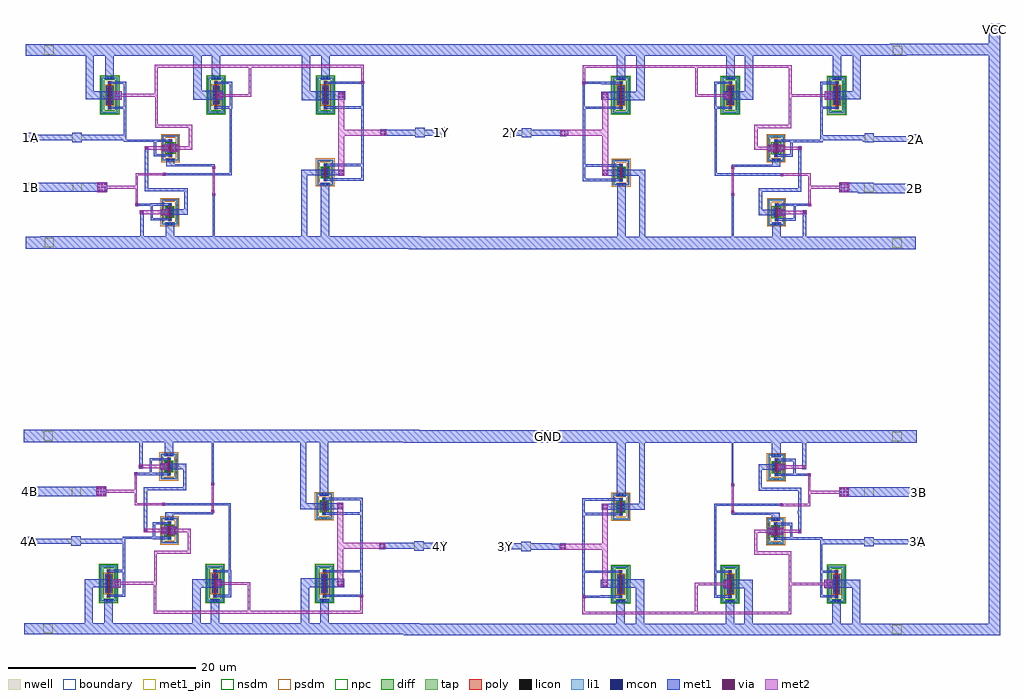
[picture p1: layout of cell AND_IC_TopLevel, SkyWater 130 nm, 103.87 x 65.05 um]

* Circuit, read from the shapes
.subckt AND_IC_TopLevel 1A 1B 1Y 2A 2B 2Y 3A 3B 3Y 4A 4B 4Y GND VCC
XM1 n1 4B GND GND sky130_fd_pr__nfet_01v8 w=1 l=0.15
XM2 n2 4A n1 GND sky130_fd_pr__nfet_01v8 w=1 l=0.15
XM3 n3 1B GND GND sky130_fd_pr__nfet_01v8 w=1 l=0.15
XM4 n4 1A n3 GND sky130_fd_pr__nfet_01v8 w=1 l=0.15
XM5 4Y n2 GND GND sky130_fd_pr__nfet_01v8 w=1 l=0.15
XM6 1Y n4 GND GND sky130_fd_pr__nfet_01v8 w=1 l=0.15
XM7 GND n5 3Y GND sky130_fd_pr__nfet_01v8 w=1 l=0.15
XM8 GND n6 2Y GND sky130_fd_pr__nfet_01v8 w=1 l=0.15
XM9 n7 3A n5 GND sky130_fd_pr__nfet_01v8 w=1 l=0.15
XM10 n8 2A n6 GND sky130_fd_pr__nfet_01v8 w=1 l=0.15
XM11 GND 3B n7 GND sky130_fd_pr__nfet_01v8 w=1 l=0.15
XM12 GND 2B n8 GND sky130_fd_pr__nfet_01v8 w=1 l=0.15
XM13 n2 4A VCC VCC sky130_fd_pr__pfet_01v8 w=2 l=0.15
XM14 n4 1A VCC VCC sky130_fd_pr__pfet_01v8 w=2 l=0.15
XM15 n2 4B VCC VCC sky130_fd_pr__pfet_01v8 w=2 l=0.15
XM16 n4 1B VCC VCC sky130_fd_pr__pfet_01v8 w=2 l=0.15
XM17 4Y n2 VCC VCC sky130_fd_pr__pfet_01v8 w=2 l=0.15
XM18 1Y n4 VCC VCC sky130_fd_pr__pfet_01v8 w=2 l=0.15
XM19 VCC n5 3Y VCC sky130_fd_pr__pfet_01v8 w=2 l=0.15
XM20 VCC n6 2Y VCC sky130_fd_pr__pfet_01v8 w=2 l=0.15
XM21 VCC 3B n5 VCC sky130_fd_pr__pfet_01v8 w=2 l=0.15
XM22 VCC 2B n6 VCC sky130_fd_pr__pfet_01v8 w=2 l=0.15
XM23 VCC 3A n5 VCC sky130_fd_pr__pfet_01v8 w=2 l=0.15
XM24 VCC 2A n6 VCC sky130_fd_pr__pfet_01v8 w=2 l=0.15
.ends

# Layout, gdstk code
from math import pi, radians
import gdstk
lib = gdstk.Library(unit=1e-6, precision=1e-09)
def R(c, l, rs):  # rectangles x0, y0, x1, y1
    for r in rs: c.add(gdstk.rectangle(r[:2], r[2:], *l))
def A(c, l, x, y, w, h, nx, ny, dx, dy):  # array of equal rectangles
    R(c, l, [(x+i*dx, y+j*dy, x+i*dx+w, y+j*dy+h) for i in range(nx) for j in range(ny)])
nwell = (64, 20)
diff = (65, 20)
tap = (65, 44)
poly = (66, 20)
licon = (66, 44)
li1 = (67, 20)
mcon = (67, 44)
met1_pin = (68, 16)
met1 = (68, 20)
via = (68, 44)
met2 = (69, 20)
nsdm = (93, 44)
psdm = (94, 20)
npc = (95, 20)
boundary = (235, 4)

sky130_fd_pr__nfet_01v8_ = lib.new_cell('sky130_fd_pr__nfet_01v8_648S5X')
R(sky130_fd_pr__nfet_01v8_, diff, [(-0.365,-0.5,0.365,0.5)])
R(sky130_fd_pr__nfet_01v8_, tap, [(-0.875,-1.37,0.875,-1.2), (-0.875,-1.2,-0.705,1.2), (0.705,-1.2,0.875,1.2), (-0.875,1.2,0.875,1.37)])
R(sky130_fd_pr__nfet_01v8_, poly, [(-0.165,-0.94,0.165,-0.61), (-0.075,-0.61,0.075,0.61), (-0.165,0.61,0.165,0.94)])
A(sky130_fd_pr__nfet_01v8_, licon, -0.875, -0.765, 0.17, 0.17, 1, 5, 0, 0.34)
A(sky130_fd_pr__nfet_01v8_, licon, 0.705, -0.765, 0.17, 0.17, 1, 5, 0, 0.34)
A(sky130_fd_pr__nfet_01v8_, licon, -0.305, -0.425, 0.17, 0.17, 1, 3, 0, 0.34)
A(sky130_fd_pr__nfet_01v8_, licon, 0.135, -0.425, 0.17, 0.17, 1, 3, 0, 0.34)
R(sky130_fd_pr__nfet_01v8_, licon, [(-0.255,-1.37,-0.085,-1.2), (0.085,-1.37,0.255,-1.2), (-0.085,-0.86,0.085,-0.69), (-0.085,0.69,0.085,0.86), (-0.255,1.2,-0.085,1.37), (0.085,1.2,0.255,1.37)])
R(sky130_fd_pr__nfet_01v8_, li1, [(-0.875,-1.37,0.875,-1.2), (-0.875,-1.2,-0.705,1.2), (0.705,-1.2,0.875,1.2), (-0.165,-0.86,0.165,-0.69), (-0.305,-0.52,-0.135,0.52), (0.135,-0.52,0.305,0.52), (-0.165,0.69,0.165,0.86), (-0.875,1.2,0.875,1.37)])
R(sky130_fd_pr__nfet_01v8_, mcon, [(-0.085,-0.86,0.085,-0.69), (-0.305,-0.265,-0.135,-0.095), (0.135,-0.265,0.305,-0.095), (-0.305,0.095,-0.135,0.265), (0.135,0.095,0.305,0.265), (-0.085,0.69,0.085,0.86)])
R(sky130_fd_pr__nfet_01v8_, met1, [(-0.145,-0.89,0.145,-0.66), (-0.335,-0.5,-0.105,0.5), (0.105,-0.5,0.335,0.5), (-0.145,0.66,0.145,0.89)])
R(sky130_fd_pr__nfet_01v8_, nsdm, [(-0.49,-0.625,0.49,0.625)])
R(sky130_fd_pr__nfet_01v8_, psdm, [(-1,-1.495,1,-1.075), (-1,-1.075,-0.58,1.075), (0.58,-1.075,1,1.075), (-1,1.075,1,1.495)])
R(sky130_fd_pr__nfet_01v8_, npc, [(-0.185,-0.96,0.185,-0.59), (-0.185,0.59,0.185,0.96)])
R(sky130_fd_pr__nfet_01v8_, boundary, [(-0.79,-1.285,0.79,1.285)])

sky130_fd_pr__pfet_01v8_ = lib.new_cell('sky130_fd_pr__pfet_01v8_XGAKDL')
R(sky130_fd_pr__pfet_01v8_, nwell, [(-1.055,-2.095,1.055,2.095)])
R(sky130_fd_pr__pfet_01v8_, diff, [(-0.365,-1,0.365,1)])
R(sky130_fd_pr__pfet_01v8_, tap, [(-0.875,-1.915,0.875,-1.745), (-0.875,-1.745,-0.705,1.745), (0.705,-1.745,0.875,1.745), (-0.875,1.745,0.875,1.915)])
R(sky130_fd_pr__pfet_01v8_, poly, [(-0.165,-1.485,0.165,-1.155), (-0.075,-1.155,0.075,1.155), (-0.165,1.155,0.165,1.485)])
A(sky130_fd_pr__pfet_01v8_, licon, -0.875, -1.275, 0.17, 0.17, 1, 8, 0, 0.34)
A(sky130_fd_pr__pfet_01v8_, licon, 0.705, -1.275, 0.17, 0.17, 1, 8, 0, 0.34)
A(sky130_fd_pr__pfet_01v8_, licon, -0.305, -0.935, 0.17, 0.17, 1, 6, 0, 0.34)
A(sky130_fd_pr__pfet_01v8_, licon, 0.135, -0.935, 0.17, 0.17, 1, 6, 0, 0.34)
R(sky130_fd_pr__pfet_01v8_, licon, [(-0.255,-1.915,-0.085,-1.745), (0.085,-1.915,0.255,-1.745), (-0.085,-1.405,0.085,-1.235), (-0.085,1.235,0.085,1.405), (-0.255,1.745,-0.085,1.915), (0.085,1.745,0.255,1.915)])
R(sky130_fd_pr__pfet_01v8_, li1, [(-0.875,-1.915,0.875,-1.745), (-0.875,-1.745,-0.705,1.745), (0.705,-1.745,0.875,1.745), (-0.165,-1.405,0.165,-1.235), (-0.305,-1.02,-0.135,1.02), (0.135,-1.02,0.305,1.02), (-0.165,1.235,0.165,1.405), (-0.875,1.745,0.875,1.915)])
A(sky130_fd_pr__pfet_01v8_, mcon, -0.305, -0.805, 0.17, 0.17, 1, 5, 0, 0.36)
A(sky130_fd_pr__pfet_01v8_, mcon, 0.135, -0.805, 0.17, 0.17, 1, 5, 0, 0.36)
R(sky130_fd_pr__pfet_01v8_, mcon, [(-0.085,-1.405,0.085,-1.235), (-0.085,1.235,0.085,1.405)])
R(sky130_fd_pr__pfet_01v8_, met1, [(-0.145,-1.435,0.145,-1.205), (-0.335,-1,-0.105,1), (0.105,-1,0.335,1), (-0.145,1.205,0.145,1.435)])
R(sky130_fd_pr__pfet_01v8_, nsdm, [(-1,-2.04,1,-1.62), (-1,-1.62,-0.58,1.62), (0.58,-1.62,1,1.62), (-1,1.62,1,2.04)])
R(sky130_fd_pr__pfet_01v8_, psdm, [(-0.49,-1.125,0.49,1.125)])
R(sky130_fd_pr__pfet_01v8_, npc, [(-0.185,-1.505,0.185,-1.135), (-0.185,1.135,0.185,1.505)])
R(sky130_fd_pr__pfet_01v8_, boundary, [(-0.79,-1.83,0.79,1.83)])

ic_7804_and = lib.new_cell('ic_7804_AND')
R(ic_7804_and, nwell, [(16.105,0.205,16.705,1.125), (26.99,2.345,27.91,2.4)])
R(ic_7804_and, li1, [(10.565,-13.145,11.18,-12.9), (27.125,-8.95,27.695,-8.68), (10.64,-6.35,11.23,-6.1), (4.14,2.41,4.795,2.635), (15.48,2.42,16.105,2.65), (27.13,2.42,27.755,2.65)])
R(ic_7804_and, mcon, [(10.605,-13.11,10.775,-12.94), (10.965,-13.11,11.135,-12.94), (27.145,-8.9,27.315,-8.73), (27.505,-8.9,27.675,-8.73), (10.67,-6.31,10.84,-6.14), (11.03,-6.31,11.2,-6.14), (4.2,2.435,4.37,2.605), (4.56,2.435,4.73,2.605), (15.525,2.45,15.695,2.62), (15.885,2.45,16.055,2.62), (27.175,2.45,27.345,2.62), (27.535,2.45,27.705,2.62)])
R(ic_7804_and, met1_pin, [(-2.455,-15.5,-1.455,-14.5), (0.52,-9.605,1.52,-8.605), (0.515,-4.315,1.515,-3.315), (37.005,-3.79,38.005,-2.79), (-2.475,4.995,-1.475,5.995)])
R(ic_7804_and, met1, [(-2.935,-15.66,37.545,-14.345), (7.705,-14.345,8.095,-11.535), (10.425,-14.345,11.355,-12.83), (15.435,-14.345,15.64,-10.005), (24.865,-14.345,25.48,-7.84), (26.915,-14.345,27.845,-8.645), (8.825,-12.63,11.03,-12.39), (8.825,-12.39,9.065,-11.075), (9.965,-12.065,10.8,-11.46), (10.99,-12.06,12.755,-11.455), (10.13,-11.46,10.8,-11.455), (12.415,-11.455,12.755,-9.555), (7.235,-11.12,7.495,-11.075), (7.235,-11.075,11.04,-10.84), (7.235,-10.84,7.495,-10.8), (8.835,-10.84,11.04,-10.835), (15.375,-10.005,15.695,-9.745), (0.52,-9.605,4.195,-8.605), (8.225,-9.555,12.755,-9.215), (8.225,-9.215,8.565,-7.11), (27.255,-8.44,31.515,-8.175), (31.25,-8.175,31.515,-6.88), (10.14,-7.865,10.46,-7.855), (10.14,-7.855,17.475,-7.62), (27.505,-7.845,29.45,-7.22), (24.865,-7.84,27.32,-7.225), (10.14,-7.62,10.46,-7.605), (17.24,-7.62,17.475,-0.73), (15.4,-7.145,15.66,-6.88), (8.225,-7.11,8.57,-6.77), (10.82,-6.885,11.03,-6.88), (10.49,-6.88,15.66,-6.825), (27.26,-6.88,31.515,-6.615), (10.49,-6.825,15.63,-6.675), (8.225,-6.77,8.565,-4.735), (10.49,-6.675,11.36,-6.05), (31.25,-6.615,31.515,-0.735), (9.175,-5.82,11.065,-5.58), (9.175,-5.58,9.415,-4.275), (11.035,-5.3,11.49,-5.295), (10.995,-5.295,11.765,-4.585), (10.07,-5.26,10.805,-4.61), (0.515,-4.315,1.515,-4.085), (5.97,-4.275,9.415,-4.27), (5.97,-4.27,11.075,-4.085), (0.515,-4.085,11.075,-4.04), (0.515,-4.04,6.22,-3.54), (9.175,-4.04,11.075,-4.03), (37.005,-3.79,38.005,-3.61), (33.265,-3.64,33.89,-3.61), (33.265,-3.61,38.005,-2.985), (0.515,-3.54,1.515,-3.315), (5.985,-3.54,6.22,-0.75), (33.265,-2.985,33.89,-2.955), (37.005,-2.985,38.005,-2.79), (4.325,-0.75,6.225,-0.515), (27.305,-0.735,31.515,-0.495), (15.625,-0.73,17.505,-0.495), (5.985,-0.515,6.225,-0.51), (5.99,-0.51,6.225,1.885), (17.24,-0.495,17.505,-0.49), (31.275,-0.495,31.515,1.86), (17.27,-0.49,17.505,1.905), (24.905,0.165,27.35,1.09), (27.54,0.215,29.55,1.1), (13.365,0.225,15.69,1.145), (15.875,0.225,16.475,0.38), (1.92,0.255,4.38,1.105), (4.57,0.255,5.765,1.105), (15.845,0.38,16.505,0.98), (15.875,0.98,16.475,1.145), (24.905,1.09,25.83,4.91), (1.92,1.105,2.77,4.91), (13.365,1.145,14.285,4.91), (31.235,1.86,31.52,1.91), (4.325,1.885,6.225,2.12), (27.31,1.895,29.545,1.91), (15.64,1.905,17.505,2.14), (27.31,1.91,31.52,2.135), (31.235,2.135,31.52,2.21), (26.99,2.345,27.91,4.91), (4.02,2.365,4.91,4.91), (15.335,2.39,16.25,4.91), (-2.92,4.91,37.525,6.125)])
A(ic_7804_and, via, 3.27, -9.5, 0.15, 0.15, 3, 3, 0.32, 0.32)
R(ic_7804_and, via, [(10.23,-11.995,10.38,-11.845), (10.55,-11.995,10.7,-11.845), (7.825,-11.835,7.975,-11.685), (10.23,-11.675,10.38,-11.525), (10.55,-11.675,10.7,-11.525), (7.29,-11.035,7.44,-10.885), (15.46,-9.95,15.61,-9.8), (10.225,-7.81,10.375,-7.66), (28.87,-7.77,29.02,-7.62), (29.19,-7.77,29.34,-7.62), (28.87,-7.45,29.02,-7.3), (29.19,-7.45,29.34,-7.3), (15.455,-7.06,15.605,-6.91), (11.145,-5.175,11.295,-5.025), (11.465,-5.175,11.615,-5.025), (10.19,-5.17,10.34,-5.02), (10.51,-5.17,10.66,-5.02), (8.32,-5.01,8.47,-4.86), (11.145,-4.855,11.295,-4.705), (11.465,-4.855,11.615,-4.705), (10.19,-4.85,10.34,-4.7), (10.51,-4.85,10.66,-4.7), (33.34,-3.535,33.49,-3.385), (33.66,-3.535,33.81,-3.385), (33.34,-3.215,33.49,-3.065), (33.66,-3.215,33.81,-3.065), (28.87,0.42,29.02,0.57), (29.19,0.42,29.34,0.57), (5.075,0.445,5.225,0.595), (5.395,0.445,5.545,0.595), (15.94,0.445,16.09,0.595), (16.26,0.445,16.41,0.595), (28.87,0.74,29.02,0.89), (29.19,0.74,29.34,0.89), (5.075,0.765,5.225,0.915), (5.395,0.765,5.545,0.915), (15.94,0.765,16.09,0.915), (16.26,0.765,16.41,0.915), (31.3,1.96,31.45,2.11)])
R(ic_7804_and, met2, [(10.16,-12.095,10.77,-11.955), (7.675,-11.955,10.77,-11.565), (10.16,-11.565,10.77,-11.425), (7.205,-11.09,7.525,-10.83), (7.245,-10.83,7.48,-9.265), (15.405,-10.035,15.665,-9.715), (15.43,-9.715,15.635,-7.115), (3.165,-9.635,4.165,-9.265), (3.165,-9.265,7.48,-8.94), (3.165,-8.94,4.165,-8.575), (7.245,-8.94,7.48,-7.85), (10.17,-7.895,10.43,-7.85), (28.795,-7.875,29.42,-3.61), (7.245,-7.85,10.43,-7.615), (10.17,-7.615,10.43,-7.575), (15.37,-7.115,15.69,-6.855), (11.025,-5.325,11.735,-5.105), (10.1,-5.29,10.75,-5.105), (8.195,-5.105,10.75,-4.765), (11.025,-5.105,13.235,-4.77), (11.025,-4.77,11.735,-4.555), (12.9,-4.77,13.235,-2.79), (10.1,-4.765,10.75,-4.58), (28.795,-3.61,33.92,-2.985), (28.795,-2.985,29.42,1), (9.3,-2.79,13.235,-2.455), (9.3,-2.455,9.57,0.54), (4.885,0.225,5.735,0.54), (15.875,0.35,16.475,0.55), (4.885,0.54,9.57,0.825), (15.875,0.55,19.54,0.81), (15.875,0.81,16.475,1.01), (19.25,0.81,19.54,3.615), (4.885,0.825,5.735,1.135), (9.28,0.825,9.565,3.62), (31.205,1.89,31.55,2.18), (31.235,2.18,31.525,3.615), (18.165,3.615,31.525,3.62), (9.28,3.62,31.525,3.905)])
ic_7804_and.add(gdstk.Reference(sky130_fd_pr__nfet_01v8_, (27.415,-7.53)))
ic_7804_and.add(gdstk.Reference(sky130_fd_pr__pfet_01v8_, (27.445,0.705)))
ic_7804_and.add(gdstk.Reference(sky130_fd_pr__nfet_01v8_, (10.875,-11.75)))
ic_7804_and.add(gdstk.Reference(sky130_fd_pr__pfet_01v8_, (15.795,0.705)))
ic_7804_and.add(gdstk.Reference(sky130_fd_pr__pfet_01v8_, (4.465,0.695)))
ic_7804_and.add(gdstk.Reference(sky130_fd_pr__nfet_01v8_, (10.945,-4.94)))
ic_7804_and.add(gdstk.Label('A', (1.015,-3.815), layer=68, texttype=5))
ic_7804_and.add(gdstk.Label('B', (1.02,-9.105), layer=68, texttype=5))
ic_7804_and.add(gdstk.Label('Y', (37.505,-3.29), layer=68, texttype=5))
ic_7804_and.add(gdstk.Label('VCC', (-1.975,5.495), layer=68, texttype=5))
ic_7804_and.add(gdstk.Label('GND', (-1.955,-15), layer=68, texttype=5))

and_ic_toplevel = lib.new_cell('AND_IC_TopLevel')
R(and_ic_toplevel, met1_pin, [(49.12,-58.28,50.12,-57.28), (42.15,-58.23,43.15,-57.23), (92.95,-57.775,93.95,-56.775), (-1.62,-57.72,-0.62,-56.72), (93.07,-52.49,94.07,-51.49), (-1.6,-52.42,-0.6,-51.42), (53.715,-46.58,54.715,-45.58), (92.65,-20.195,93.65,-19.195), (-1.44,-20.05,-0.44,-19.05), (92.67,-14.925,93.67,-13.925), (-1.44,-14.74,-0.44,-13.74), (49.57,-14.25,50.57,-13.25), (42.31,-14.23,43.31,-13.23), (101.08,-3.29,102.08,-2.29)])
R(and_ic_toplevel, met1, [(38.745,-67.21,68.045,-65.995), (90.99,-67.21,102.215,-65.995), (-1.62,-67.14,2.375,-65.925), (101,-65.995,102.215,-5.485), (49.12,-58.28,50.12,-58.07), (42.15,-58.23,43.15,-58.03), (49.12,-58.07,54.445,-57.445), (38.65,-58.03,43.16,-57.405), (92.95,-57.775,93.95,-57.54), (-1.62,-57.72,-0.62,-57.475), (87.04,-57.54,93.95,-56.995), (-1.62,-57.475,5.985,-56.93), (49.12,-57.445,50.12,-57.28), (42.15,-57.405,43.15,-57.23), (92.95,-56.995,93.95,-56.775), (-1.62,-56.93,-0.62,-56.72), (87.51,-52.49,94.07,-51.49), (-1.6,-52.42,-0.6,-52.41), (-1.6,-52.41,5.63,-51.42), (-0.78,-51.42,5.63,-51.41), (38.785,-46.74,69.245,-45.425), (92.05,-46.74,93.365,-45.42), (-1.65,-46.68,-0.05,-45.36), (39.275,-26.12,68.255,-24.805), (91.92,-26.12,93.235,-24.805), (-1.46,-26.1,0.06,-24.79), (92.65,-20.195,93.65,-20.19), (87.06,-20.19,93.65,-19.195), (-1.44,-20.05,-0.44,-20.045), (-1.44,-20.045,5.63,-19.05), (87.06,-19.195,92.67,-19.19), (-0.62,-19.05,5.63,-19.045), (92.67,-14.925,93.67,-14.68), (-1.44,-14.74,-0.44,-14.525), (87.6,-14.68,93.67,-14.135), (-1.44,-14.525,5.375,-13.98), (49.57,-14.25,50.57,-14.08), (42.31,-14.23,43.31,-14.05), (92.67,-14.135,93.67,-13.925), (49.57,-14.08,56.255,-13.455), (38.48,-14.05,43.31,-13.425), (-1.44,-13.98,-0.44,-13.74), (49.57,-13.455,50.57,-13.25), (42.31,-13.425,43.31,-13.23), (-1.44,-5.55,2.125,-4.335), (39.6,-5.55,52.6,-4.32), (92.235,-5.485,102.215,-4.335), (90.495,-4.335,102.215,-4.27), (101,-4.27,102.215,-2.16)])
and_ic_toplevel.add(gdstk.Reference(ic_7804_and, (2.885,-61.015), x_reflection=True))
and_ic_toplevel.add(gdstk.Reference(ic_7804_and, (89.285,-61.085), rotation=pi))
and_ic_toplevel.add(gdstk.Reference(ic_7804_and, (89.315,-10.46), rotation=pi, x_reflection=True))
and_ic_toplevel.add(gdstk.Reference(ic_7804_and, (2.995,-10.44)))
and_ic_toplevel.add(gdstk.Label('1A', (-0.94,-14.24), layer=68, texttype=5))
and_ic_toplevel.add(gdstk.Label('1B', (-0.94,-19.55), layer=68, texttype=5))
and_ic_toplevel.add(gdstk.Label('1Y', (42.81,-13.73), layer=68, texttype=5))
and_ic_toplevel.add(gdstk.Label('2A', (93.17,-14.425), layer=68, texttype=5))
and_ic_toplevel.add(gdstk.Label('2B', (93.15,-19.695), layer=68, texttype=5))
and_ic_toplevel.add(gdstk.Label('2Y', (50.07,-13.75), layer=68, texttype=5))
and_ic_toplevel.add(gdstk.Label('GND', (54.215,-46.08), layer=68, texttype=5))
and_ic_toplevel.add(gdstk.Label('3A', (93.45,-57.275), layer=68, texttype=5))
and_ic_toplevel.add(gdstk.Label('3B', (93.57,-51.99), layer=68, texttype=5))
and_ic_toplevel.add(gdstk.Label('3Y', (49.62,-57.78), layer=68, texttype=5))
and_ic_toplevel.add(gdstk.Label('4A', (-1.12,-57.22), layer=68, texttype=5))
and_ic_toplevel.add(gdstk.Label('4B', (-1.1,-51.92), layer=68, texttype=5))
and_ic_toplevel.add(gdstk.Label('4Y', (42.65,-57.73), layer=68, texttype=5))
and_ic_toplevel.add(gdstk.Label('VCC', (101.58,-2.79), layer=68, texttype=5))

lib.write_gds('AND_IC_TopLevel.gds')
